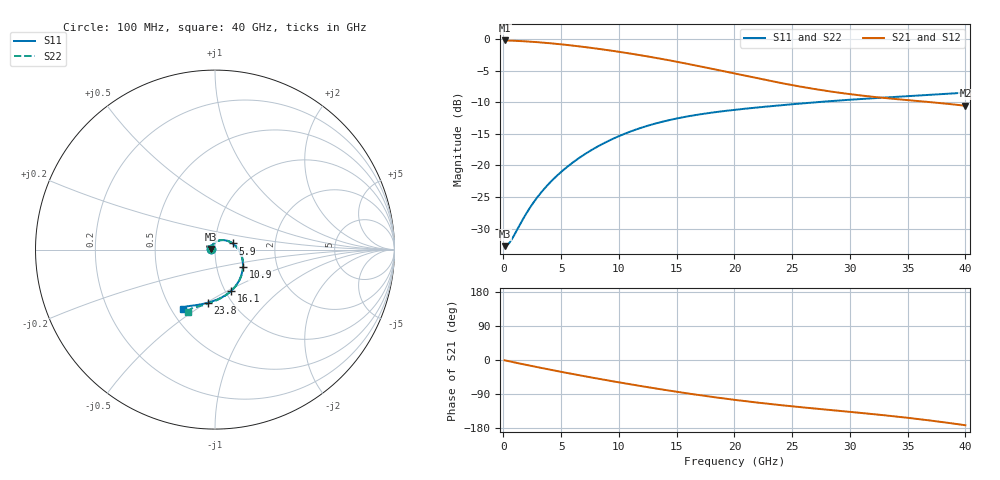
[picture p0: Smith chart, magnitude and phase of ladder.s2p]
! D_s8_stitch_2p0: via ladder as kisi uses it (kisi_si::via_pbm, graded grid, junction model), ports at the via
# Hz S RI R 50
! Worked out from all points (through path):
!   400 points, 100 MHz to 40 GHz, reference 50 ohm
!   highest |S21| = -0.20 dB at 100 MHz (marker M1); lowest = -10.6 dB at 40 GHz (marker M2)
!   group delay of S21, straight-line fit = 11.3 ps
!   lowest |S11| = -32.8 dB at 100 MHz (marker M3), VSWR 1.05, Z = 47.8 + j0.289 ohm
!   |S11| at or under -10 dB: start of sweep to 27.02 GHz
!   |S22| runs from -32.8 to -8.4 dB; largest |S21 - S12| = 0
!   S11 on the Smith chart (normalised r, x): 100 MHz: 0.96, +0.01; 5.9 GHz: 1.21, +0.08; 10.9 GHz: 1.34, -0.27; 16.1 GHz: 1.07, -0.52; 23.8 GHz: 0.78, -0.51; 40 GHz: 0.57, -0.44
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1e8  -0.0227 0.00303  0.9767 -0.0118  0.9767 -0.0118  -0.0227 0.00302
3e8  -0.0217 0.00859  0.9753 -0.035  0.9753 -0.035  -0.0217 0.00858
6e8  -0.0191 0.0162  0.9717 -0.0689  0.9717 -0.0689  -0.0191 0.0161
2.1e9  0.00511 0.0431  0.9314 -0.2269  0.9314 -0.2269  0.00463 0.0432
3.2e9  0.0302 0.0519  0.883 -0.33  0.883 -0.33  0.0293 0.0524
4.4e9  0.0607 0.0507  0.816 -0.4286  0.816 -0.4286  0.0593 0.052
5.9e9  0.098 0.034  0.717 -0.5298  0.717 -0.5298  0.0963 0.0367
6.8e9  0.1175 0.0169  0.6521 -0.5784  0.6521 -0.5784  0.1158 0.0205
8.8e9  0.1476 -0.035  0.5009 -0.6548  0.5009 -0.6548  0.147 -0.029
1.09e10  0.1553 -0.099  0.3423 -0.6913  0.3423 -0.6913  0.1569 -0.0912
1.21e10  0.149 -0.135  0.2559 -0.6944  0.2559 -0.6944  0.1524 -0.1264
1.34e10  0.1351 -0.1706  0.1683 -0.6853  0.1683 -0.6853  0.1405 -0.1618
1.61e10  0.0914 -0.2283  0.0127 -0.6334  0.0127 -0.6334  0.1008 -0.2203
1.81e10  0.0542 -0.2567  -0.0759 -0.5763  -0.0759 -0.5763  0.0663 -0.2501
2.01e10  0.0183 -0.2755  -0.142 -0.5128  -0.142 -0.5128  0.0326 -0.2707
2.19e10  -0.0113 -0.287  -0.1846 -0.4557  -0.1846 -0.4557  0.00467 -0.2841
2.38e10  -0.0397 -0.2957  -0.2161 -0.399  -0.2161 -0.399  -0.0221 -0.2948
2.67e10  -0.0781 -0.3047  -0.2464 -0.3231  -0.2464 -0.3231  -0.0583 -0.307
3e10  -0.1152 -0.3107  -0.2678 -0.2508  -0.2678 -0.2508  -0.0932 -0.3168
3.34e10  -0.1452 -0.3143  -0.2852 -0.1838  -0.2852 -0.1838  -0.1209 -0.3243
3.72e10  -0.1679 -0.3214  -0.2978 -0.1047  -0.2978 -0.1047  -0.1408 -0.3351
4e10  -0.1804 -0.3324  -0.294 -0.0404  -0.294 -0.0404  -0.1502 -0.3486
